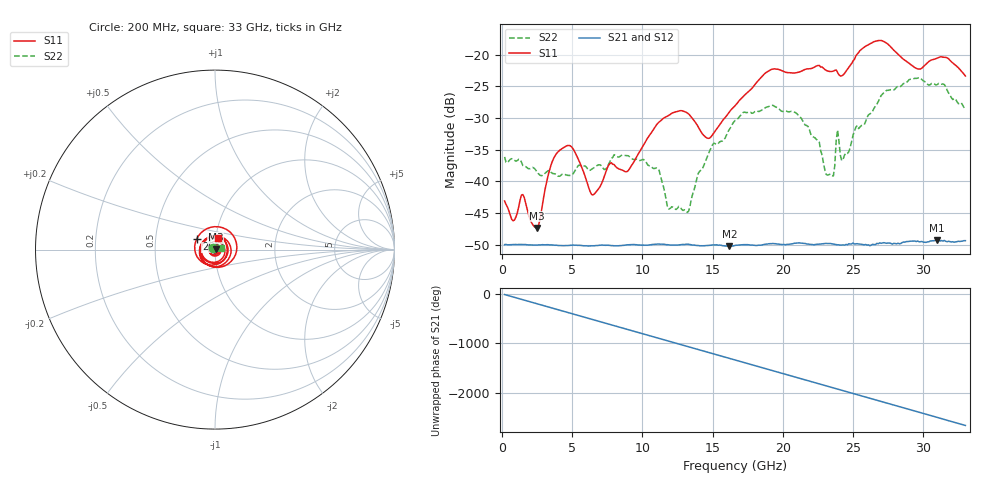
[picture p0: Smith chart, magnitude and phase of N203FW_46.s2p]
# GHZ S RI R 50
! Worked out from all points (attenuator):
!   329 points, 200 MHz to 33 GHz, reference 50 ohm
!   highest |S21| = -49.24 dB at 31 GHz (marker M1); lowest = -50.2 dB at 16.2 GHz (marker M2)
!   lowest |S11| = -47.3 dB at 2.5 GHz (marker M3), VSWR 1.01, Z = 50.4 + j0.236 ohm
!   |S11| at or under -10 dB: start of sweep to end of sweep
!   |S22| runs from -44.9 to -23.6 dB; largest |S21 - S12| = 8.9e-05
!   S11 on the Smith chart (normalised r, x): 200 MHz: 1.01, +0.01; 26 GHz: 0.81, +0.10; 33 GHz: 1.03, +0.13
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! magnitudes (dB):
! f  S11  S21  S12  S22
! 200 MHz  -43.1  -50.0  -49.9  -36.1
! 800 MHz  -46.2  -50.0  -50.0  -36.5
! 1.5 GHz  -42.1  -49.9  -49.9  -37.5
! 2.5 GHz  -47.3  -50.0  -50.0  -38.5
! 3.9 GHz  -35.6  -50.1  -50.1  -39.0
! 5.7 GHz  -37.8  -50.1  -50.1  -37.6
! 6.5 GHz  -42.1  -50.2  -50.1  -37.9
! 11.2 GHz  -30.6  -49.9  -49.9  -38.3
! 11.8 GHz  -29.7  -50.0  -50.0  -44.1
! 13.2 GHz  -29.2  -49.9  -49.9  -44.9
! 14.7 GHz  -33.2  -50.1  -50.1  -35.7
! 16.2 GHz  -29.1  -50.2  -50.2  -31.8
! 16.6 GHz  -28.1  -50.1  -50.1  -30.4
! 19.3 GHz  -22.3  -49.8  -49.8  -28.0
! 22.1 GHz  -22.1  -49.9  -49.9  -32.9
! 23.6 GHz  -22.6  -49.9  -49.9  -39.1
! 23.9 GHz  -22.8  -50.0  -50.0  -31.9
! 24.2 GHz  -23.3  -50.0  -50.0  -36.7
! 26 GHz  -18.6  -50.0  -50.0  -29.9
! 27.6 GHz  -18.6  -49.7  -49.7  -25.6
! 31 GHz  -20.5  -49.2  -49.2  -24.7
! 33 GHz  -23.4  -49.3  -49.4  -28.6
